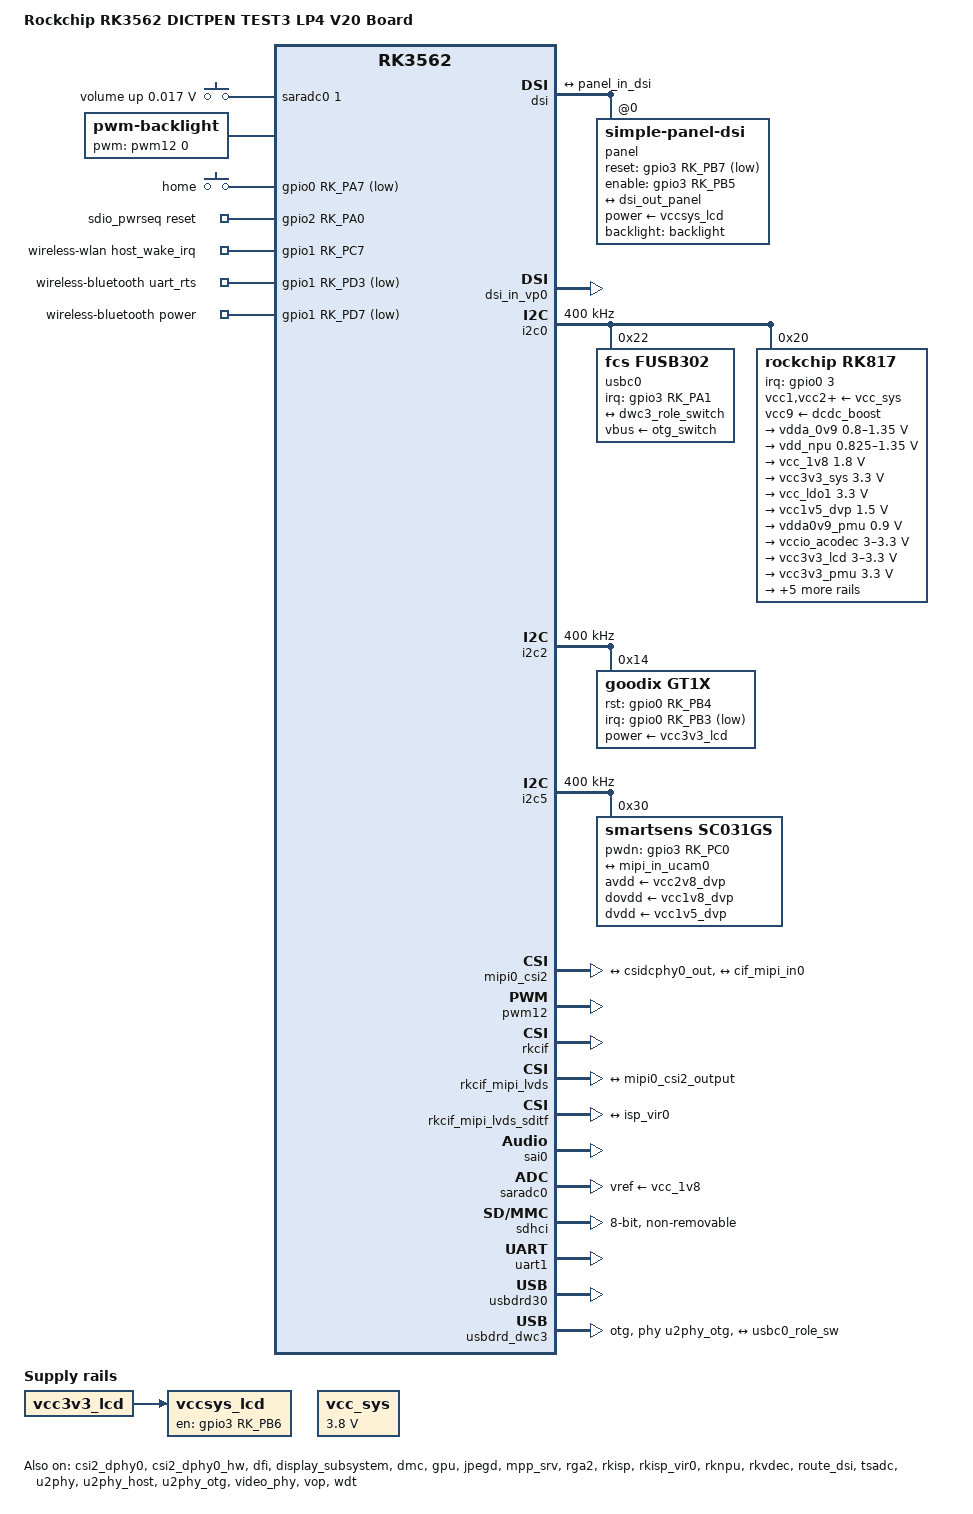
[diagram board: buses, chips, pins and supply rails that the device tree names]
// SPDX-License-Identifier: (GPL-2.0+ OR MIT)
/*
 * Copyright (c) 2023 Rockchip Electronics Co., Ltd.
 *
 */
/dts-v1/;

#include <dt-bindings/gpio/gpio.h>
#include <dt-bindings/pinctrl/rockchip.h>
#include <dt-bindings/input/rk-input.h>
#include <dt-bindings/sensor-dev.h>
#include <dt-bindings/display/drm_mipi_dsi.h>
#include "dt-bindings/usb/pd.h"
#include "rk3562.dtsi"
#include "rk3562-linux.dtsi"

/ {
	model = "Rockchip RK3562 DICTPEN TEST3 LP4 V20 Board";
	compatible = "rockchip,rk3562-dictpen-test3-v20", "rockchip,rk3562";

	adc_keys: adc-keys {
		compatible = "adc-keys";
		io-channels = <&saradc0 1>;
		io-channel-names = "buttons";
		keyup-threshold-microvolt = <1800000>;
		poll-interval = <100>;

		vol-up-key {
			label = "volume up";
			linux,code = <KEY_VOLUMEUP>;
			press-threshold-microvolt = <17000>;
		};
	};

	backlight: backlight {
		compatible = "pwm-backlight";
		pwms = <&pwm12 0 25000 0>;
		brightness-levels = <
			  0  20  20  21  21  22  22  23
			 23  24  24  25  25  26  26  27
			 27  28  28  29  29  30  30  31
			 31  32  32  33  33  34  34  35
			 35  36  36  37  37  38  38  39
			 40  41  42  43  44  45  46  47
			 48  49  50  50  51  52  53  54
			 55  55  56  57  58  59  60  61
			 62  63  64  64  65  65  66  67
			 68  69  70  71  71  72  73  74
			 75  76  77  78  79  79  80  81
			 82  83  84  85  86  86  87  88
			 89  90  91  92  93  94  94  95
			 96  97  98  99 100 101 101 102
			103 104 105 106 107 107 108 109
			110 111 112 113 114 115 115 116
			117 118 119 120 121 122 123 123
			124 125 126 127 128 129 130 130
			131 132 133 134 135 136 136 137
			138 139 140 141 142 143 143 144
			145 146 147 147 148 149 150 151
			152 153 154 155 156 156 157 158
			159 157 158 159 160 161 162 162
			163 164 165 166 167 168 169 169
			170 171 172 173 174 175 175 176
			177 178 179 180 181 182 182 183
			184 185 186 187 188 189 190 190
			191 192 193 194 195 196 197 197
			198 199 200 201 202 203 204 204
			205 206 207 208 209 209 210 211
			212 213 213 214 214 215 215 216
			216 217 217 218 218 219 219 220
		>;
		default-brightness-level = <60>;
	};

	charge-animation {
		compatible = "rockchip,uboot-charge";
		rockchip,uboot-charge-on = <0>;
		rockchip,android-charge-on = <0>;
		rockchip,uboot-low-power-voltage = <2800>;
		rockchip,screen-on-voltage = <3000>;
		status = "okay";
	};

	gpio-keys {
		compatible = "gpio-keys";
		autorepeat;
		pinctrl-names = "default";
		pinctrl-0 = <&scan_key>;

		button@0 {
			label = "home";
			linux,code = <KEY_HOME>;
			gpios = <&gpio0 RK_PA7 GPIO_ACTIVE_LOW>;
			debounce-interval = <50>;
		};
	};

	rk817-sound {
		compatible = "rockchip,multicodecs-card";
		rockchip,card-name = "rockchip-rk817";
		rockchip,format = "i2s";
		rockchip,mclk-fs = <256>;
		rockchip,cpu = <&sai0>;
		rockchip,codec = <&rk817_codec>;
	};

	vcc_sys: vcc-sys {
		compatible = "regulator-fixed";
		regulator-name = "vcc_sys";
		regulator-always-on;
		regulator-boot-on;
		regulator-min-microvolt = <3800000>;
		regulator-max-microvolt = <3800000>;
	};

	vccsys_lcd: vccsys-lcd {
		compatible = "regulator-fixed";
		regulator-name = "vccsys_lcd";
		regulator-boot-on;
		enable-active-high;
		gpio = <&gpio3 RK_PB6 GPIO_ACTIVE_HIGH>;
		vin-supply = <&vcc3v3_lcd>;
	};

	sdio_pwrseq: sdio-pwrseq {
		compatible = "mmc-pwrseq-simple";
		pinctrl-names = "default";
		pinctrl-0 = <&wifi_enable_l>;

		/*
		 * On the module itself this is one of these (depending
		 * on the actual card populated):
		 * - SDIO_RESET_L_WL_REG_ON
		 * - PDN (power down when low)
		 */
		post-power-on-delay-ms = <200>;
		reset-gpios = <&gpio2 RK_PA0 GPIO_ACTIVE_HIGH>;
	};

	wireless-wlan {
		compatible = "wlan-platdata";
		rockchip,grf = <&sys_grf>;
		wifi_chip_type = "ap6203";
		pinctrl-names = "default";
		pinctrl-0 = <&wifi_host_wake_irq>;
		WIFI,host_wake_irq = <&gpio1 RK_PC7 GPIO_ACTIVE_HIGH>;
		status = "okay";
	};

	wireless-bluetooth {
		compatible = "bluetooth-platdata";
		clocks = <&rk817 1>;
		clock-names = "ext_clock";
		uart_rts_gpios = <&gpio1 RK_PD3 GPIO_ACTIVE_LOW>;
		pinctrl-names = "default", "rts_gpio";
		pinctrl-0 = <&uart1m0_rtsn>;
		pinctrl-1 = <&uart1_gpios>;
		BT,power_gpio    = <&gpio1 RK_PD7 GPIO_ACTIVE_LOW>;
		//BT,wake_gpio     = <&gpio1 RK_PD5 GPIO_ACTIVE_HIGH>;
		//BT,wake_host_irq = <&gpio1 RK_PD6 GPIO_ACTIVE_HIGH>;
		status = "okay";
	};
};

&cpu0 {
	cpu-supply = <&vdd_cpu>;
};

&cpu0_opp_table {
	opp-408000000 {
	/delete-property/ opp-suspend;
	};

	opp-1200000000 {
		opp-suspend;
	};
	/delete-node/ opp-1608000000;
	/delete-node/ opp-1800000000;
	/delete-node/ opp-2016000000;
};

&csi2_dphy0 {
	status = "okay";

	ports {
		#address-cells = <1>;
		#size-cells = <0>;
		port@0 {
			reg = <0>;
			#address-cells = <1>;
			#size-cells = <0>;

			mipi_in_ucam0: endpoint@1 {
				reg = <1>;
				remote-endpoint = <&sc031gs_out>;
				data-lanes = <1>;
			};

		};
		port@1 {
			reg = <1>;
			#address-cells = <1>;
			#size-cells = <0>;

			csidcphy0_out: endpoint@0 {
				reg = <0>;
				remote-endpoint = <&mipi0_csi2_input>;
			};
		};
	};
};

&csi2_dphy0_hw {
	status = "okay";
};

&dfi {
	status = "okay";
};

&display_subsystem {
	status = "okay";
};

&dmc {
	center-supply = <&vdd_logic>;
	status = "okay";
};

&dsi {
	status = "okay";

	panel@0 {
		status = "okay";
		compatible = "simple-panel-dsi";
		reg = <0>;
		backlight = <&backlight>;
		power-supply=<&vccsys_lcd>;
		reset-gpios = <&gpio3 RK_PB7 GPIO_ACTIVE_LOW>;
		enable-gpios = <&gpio3 RK_PB5 GPIO_ACTIVE_HIGH>;

		reset-delay-ms = <60>;
		enable-delay-ms = <60>;
		prepare-delay-ms = <60>;
		unprepare-delay-ms = <60>;
		disable-delay-ms = <60>;
		dsi,flags = <(MIPI_DSI_MODE_VIDEO | MIPI_DSI_MODE_VIDEO_BURST |
			MIPI_DSI_MODE_LPM | MIPI_DSI_MODE_EOT_PACKET)>;
		dsi,format = <MIPI_DSI_FMT_RGB888>;
		dsi,lanes  = <4>;
		panel-init-sequence = [
			23 00 02 FE 21
			23 00 02 04 00
			23 00 02 00 64
			23 00 02 2A 00
			23 00 02 26 64
			23 00 02 54 00
			23 00 02 50 64
			23 00 02 7B 00
			23 00 02 77 64
			23 00 02 A2 00
			23 00 02 9D 64
			23 00 02 C9 00
			23 00 02 C5 64
			23 00 02 01 71
			23 00 02 27 71
			23 00 02 51 71
			23 00 02 78 71
			23 00 02 9E 71
			23 00 02 C6 71
			23 00 02 02 89
			23 00 02 28 89
			23 00 02 52 89
			23 00 02 79 89
			23 00 02 9F 89
			23 00 02 C7 89
			23 00 02 03 9E
			23 00 02 29 9E
			23 00 02 53 9E
			23 00 02 7A 9E
			23 00 02 A0 9E
			23 00 02 C8 9E
			23 00 02 09 00
			23 00 02 05 B0
			23 00 02 31 00
			23 00 02 2B B0
			23 00 02 5A 00
			23 00 02 55 B0
			23 00 02 80 00
			23 00 02 7C B0
			23 00 02 A7 00
			23 00 02 A3 B0
			23 00 02 CE 00
			23 00 02 CA B0
			23 00 02 06 C0
			23 00 02 2D C0
			23 00 02 56 C0
			23 00 02 7D C0
			23 00 02 A4 C0
			23 00 02 CB C0
			23 00 02 07 CF
			23 00 02 2F CF
			23 00 02 58 CF
			23 00 02 7E CF
			23 00 02 A5 CF
			23 00 02 CC CF
			23 00 02 08 DD
			23 00 02 30 DD
			23 00 02 59 DD
			23 00 02 7F DD
			23 00 02 A6 DD
			23 00 02 CD DD
			23 00 02 0E 15
			23 00 02 0A E9
			23 00 02 36 15
			23 00 02 32 E9
			23 00 02 5F 15
			23 00 02 5B E9
			23 00 02 85 15
			23 00 02 81 E9
			23 00 02 AD 15
			23 00 02 A9 E9
			23 00 02 D3 15
			23 00 02 CF E9
			23 00 02 0B 14
			23 00 02 33 14
			23 00 02 5C 14
			23 00 02 82 14
			23 00 02 AA 14
			23 00 02 D0 14
			23 00 02 0C 36
			23 00 02 34 36
			23 00 02 5D 36
			23 00 02 83 36
			23 00 02 AB 36
			23 00 02 D1 36
			23 00 02 0D 6B
			23 00 02 35 6B
			23 00 02 5E 6B
			23 00 02 84 6B
			23 00 02 AC 6B
			23 00 02 D2 6B
			23 00 02 13 5A
			23 00 02 0F 94
			23 00 02 3B 5A
			23 00 02 37 94
			23 00 02 64 5A
			23 00 02 60 94
			23 00 02 8A 5A
			23 00 02 86 94
			23 00 02 B2 5A
			23 00 02 AE 94
			23 00 02 D8 5A
			23 00 02 D4 94
			23 00 02 10 D1
			23 00 02 38 D1
			23 00 02 61 D1
			23 00 02 87 D1
			23 00 02 AF D1
			23 00 02 D5 D1
			23 00 02 11 04
			23 00 02 39 04
			23 00 02 62 04
			23 00 02 88 04
			23 00 02 B0 04
			23 00 02 D6 04
			23 00 02 12 05
			23 00 02 3A 05
			23 00 02 63 05
			23 00 02 89 05
			23 00 02 B1 05
			23 00 02 D7 05
			23 00 02 18 AA
			23 00 02 14 36
			23 00 02 42 AA
			23 00 02 3D 36
			23 00 02 69 AA
			23 00 02 65 36
			23 00 02 8F AA
			23 00 02 8B 36
			23 00 02 B7 AA
			23 00 02 B3 36
			23 00 02 DD AA
			23 00 02 D9 36
			23 00 02 15 74
			23 00 02 3F 74
			23 00 02 66 74
			23 00 02 8C 74
			23 00 02 B4 74
			23 00 02 DA 74
			23 00 02 16 9F
			23 00 02 40 9F
			23 00 02 67 9F
			23 00 02 8D 9F
			23 00 02 B5 9F
			23 00 02 DB 9F
			23 00 02 17 DC
			23 00 02 41 DC
			23 00 02 68 DC
			23 00 02 8E DC
			23 00 02 B6 DC
			23 00 02 DC DC
			23 00 02 1D FF
			23 00 02 19 03
			23 00 02 47 FF
			23 00 02 43 03
			23 00 02 6E FF
			23 00 02 6A 03
			23 00 02 94 FF
			23 00 02 90 03
			23 00 02 BC FF
			23 00 02 B8 03
			23 00 02 E2 FF
			23 00 02 DE 03
			23 00 02 1A 35
			23 00 02 44 35
			23 00 02 6B 35
			23 00 02 91 35
			23 00 02 B9 35
			23 00 02 DF 35
			23 00 02 1B 45
			23 00 02 45 45
			23 00 02 6C 45
			23 00 02 92 45
			23 00 02 BA 45
			23 00 02 E0 45
			23 00 02 1C 55
			23 00 02 46 55
			23 00 02 6D 55
			23 00 02 93 55
			23 00 02 BB 55
			23 00 02 E1 55
			23 00 02 22 FF
			23 00 02 1E 68
			23 00 02 4C FF
			23 00 02 48 68
			23 00 02 73 FF
			23 00 02 6F 68
			23 00 02 99 FF
			23 00 02 95 68
			23 00 02 C1 FF
			23 00 02 BD 68
			23 00 02 E7 FF
			23 00 02 E3 68
			23 00 02 1F 7E
			23 00 02 49 7E
			23 00 02 70 7E
			23 00 02 96 7E
			23 00 02 BE 7E
			23 00 02 E4 7E
			23 00 02 20 97
			23 00 02 4A 97
			23 00 02 71 97
			23 00 02 97 97
			23 00 02 BF 97
			23 00 02 E5 97
			23 00 02 21 B5
			23 00 02 4B B5
			23 00 02 72 B5
			23 00 02 98 B5
			23 00 02 C0 B5
			23 00 02 E6 B5
			23 00 02 25 F0
			23 00 02 23 E8
			23 00 02 4F F0
			23 00 02 4D E8
			23 00 02 76 F0
			23 00 02 74 E8
			23 00 02 9C F0
			23 00 02 9A E8
			23 00 02 C4 F0
			23 00 02 C2 E8
			23 00 02 EA F0
			23 00 02 E8 E8
			23 00 02 24 FF
			23 00 02 4E FF
			23 00 02 75 FF
			23 00 02 9B FF
			23 00 02 C3 FF
			23 00 02 E9 FF
			23 00 02 FE 3D
			23 00 02 00 04
			23 00 02 FE 23
			23 00 02 08 82
			23 00 02 0A 00
			23 00 02 0B 00
			23 00 02 0C 01
			23 00 02 16 00
			23 00 02 18 02
			23 00 02 1B 04
			23 00 02 19 04
			23 00 02 1C 81
			23 00 02 1F 00
			23 00 02 20 03
			23 00 02 23 04
			23 00 02 21 01
			23 00 02 54 63
			23 00 02 55 54
			23 00 02 6E 45
			23 00 02 6D 36
			23 00 02 FE 3D
			23 00 02 55 78
			23 00 02 FE 20
			23 00 02 26 30
			23 00 02 FE 3D
			23 00 02 20 71
			23 00 02 50 8F
			23 00 02 51 8F
			23 00 02 FE 00
			23 00 02 35 00
			05 78 01 11
			05 1E 01 29
		];

		panel-exit-sequence = [
			05 00 01 28
			05 00 01 10
		];

		disp_timings0: display-timings {
			native-mode = <&dsi_timing0>;

			dsi_timing0: timing0 {
				clock-frequency = <132000000>;
				hactive = <1080>;
				vactive = <1920>;
				hfront-porch = <15>;
				hsync-len = <2>;
				hback-porch = <30>;
				vfront-porch = <15>;
				vsync-len = <2>;
				vback-porch = <15>;
				hsync-active = <0>;
				vsync-active = <0>;
				de-active = <0>;
				pixelclk-active = <1>;
			};
		};

		ports {
			#address-cells = <1>;
			#size-cells = <0>;

			port@0 {
				reg = <0>;
				panel_in_dsi: endpoint {
					remote-endpoint = <&dsi_out_panel>;
				};
			};
		};
	};

	ports {
		#address-cells = <1>;
		#size-cells = <0>;

		port@1 {
			reg = <1>;
			dsi_out_panel: endpoint {
				remote-endpoint = <&panel_in_dsi>;
			};
		};
	};
};

&dsi_in_vp0 {
	status = "okay";
};

&gpu {
	mali-supply = <&vdd_gpu>;
	status = "okay";
};

&gpu_opp_table {
	/delete-node/ opp-800000000;
	/delete-node/ opp-900000000;
};

&i2c0 {
	status = "okay";
	clock-frequency = <400000>;

	usbc0: fusb302@22 {
		compatible = "fcs,fusb302";
		reg = <0x22>;
		interrupt-parent = <&gpio3>;
		interrupts = <RK_PA1 IRQ_TYPE_LEVEL_LOW>;
		pinctrl-names = "default";
		pinctrl-0 = <&usbc0_int>;
		vbus-supply = <&otg_switch>;
		status = "okay";

		ports {
			#address-cells = <1>;
			#size-cells = <0>;

			port@0 {
				reg = <0>;
				usbc0_role_sw: endpoint@0 {
					remote-endpoint = <&dwc3_role_switch>;
				};
			};
		};

		usb_con: connector {
			compatible = "usb-c-connector";
			label = "USB-C";
			data-role = "dual";
			power-role = "dual";
			try-power-role = "sink";
			op-sink-microwatt = <1000000>;
			sink-pdos =
				<PDO_FIXED(5000, 2000, PDO_FIXED_USB_COMM)>;
			source-pdos =
				<PDO_FIXED(5000, 2000, PDO_FIXED_USB_COMM)>;
		};
	};

	rk817: pmic@20 {
		compatible = "rockchip,rk817";
		reg = <0x20>;
		interrupt-parent = <&gpio0>;
		interrupts = <3 IRQ_TYPE_LEVEL_LOW>;

		pinctrl-names = "default", "pmic-sleep",
			"pmic-power-off", "pmic-reset";
		pinctrl-0 = <&pmic_int>;
		pinctrl-1 = <&soc_slppin_slp>, <&rk817_slppin_slp>;
		pinctrl-2 = <&soc_slppin_gpio>, <&rk817_slppin_pwrdn>;
		pinctrl-3 = <&soc_slppin_gpio>, <&rk817_slppin_rst>;
		rockchip,system-power-controller;
		wakeup-source;
		#clock-cells = <1>;
		clock-output-names = "rk808-clkout1", "rk808-clkout2";
		/* 1: rst regs (default in codes), 0: rst the pmic */
		pmic-reset-func = <0>;
		not-save-power-en = <1>;
		vcc1-supply = <&vcc_sys>;
		vcc2-supply = <&vcc_sys>;
		vcc3-supply = <&vcc_sys>;
		vcc4-supply = <&vcc_sys>;
		vcc5-supply = <&vcc_sys>;
		vcc6-supply = <&vcc_sys>;
		vcc7-supply = <&vcc_sys>;
		vcc8-supply = <&vcc_sys>;
		vcc9-supply = <&dcdc_boost>;
		pwrkey {
			status = "okay";
		};

		pinctrl_rk8xx: pinctrl_rk8xx {
			gpio-controller;
			#gpio-cells = <2>;

			rk817_slppin_null: rk817_slppin_null {
				pins = "gpio_slp";
				function = "pin_fun0";
			};

			rk817_slppin_slp: rk817_slppin_slp {
				pins = "gpio_slp";
				function = "pin_fun1";
			};

			rk817_slppin_pwrdn: rk817_slppin_pwrdn {
				pins = "gpio_slp";
				function = "pin_fun2";
			};

			rk817_slppin_rst: rk817_slppin_rst {
				pins = "gpio_slp";
				function = "pin_fun3";
			};
		};

		regulators {
			vdda_0v9: vdd_logic: DCDC_REG1 {
				regulator-always-on;
				regulator-boot-on;
				regulator-min-microvolt = <800000>;
				regulator-max-microvolt = <1350000>;
				regulator-init-microvolt = <900000>;
				regulator-ramp-delay = <6001>;
				regulator-initial-mode = <0x2>;
				regulator-name = "vdd_logic";
				regulator-state-mem {
					regulator-off-in-suspend;
					regulator-suspend-microvolt = <900000>;
				};
			};

			vdd_npu: vdd_gpu: vdd_cpu: DCDC_REG2 {
				regulator-always-on;
				regulator-boot-on;
				regulator-min-microvolt = <825000>;
				regulator-max-microvolt = <1350000>;
				regulator-init-microvolt = <900000>;
				regulator-ramp-delay = <6001>;
				regulator-initial-mode = <0x2>;
				regulator-name = "vdd_cpu";
				regulator-state-mem {
					regulator-off-in-suspend;
				};
			};

			vcc_1v8: DCDC_REG3 {
				regulator-always-on;
				regulator-boot-on;
				regulator-initial-mode = <0x2>;
				regulator-name = "vcc_1v8";
				regulator-min-microvolt = <1800000>;
				regulator-max-microvolt = <1800000>;
				regulator-state-mem {
					regulator-off-in-suspend;
				};
			};

			vcc3v3_sys: DCDC_REG4 {
				regulator-always-on;
				regulator-boot-on;
				regulator-min-microvolt = <3300000>;
				regulator-max-microvolt = <3300000>;
				regulator-initial-mode = <0x2>;
				regulator-name = "vcc3v3_sys";
				regulator-state-mem {
					regulator-on-in-suspend;
				};
			};

			vcc_ldo1: LDO_REG1 {
				regulator-min-microvolt = <3300000>;
				regulator-max-microvolt = <3300000>;
				regulator-name = "vcc_ldo1";
				regulator-state-mem {
					regulator-off-in-suspend;
				};
			};

			vcc1v5_dvp: LDO_REG2 {
				regulator-min-microvolt = <1500000>;
				regulator-max-microvolt = <1500000>;
				regulator-name = "vcc1v5_dvp";
				regulator-state-mem {
					regulator-off-in-suspend;
				};
			};

			vdda0v9_pmu: LDO_REG3 {
				regulator-always-on;
				regulator-boot-on;
				regulator-min-microvolt = <900000>;
				regulator-max-microvolt = <900000>;
				regulator-name = "vdda0v9_pmu";
				regulator-state-mem {
					regulator-on-in-suspend;
					regulator-suspend-microvolt = <900000>;
				};
			};

			vccio_acodec: LDO_REG4 {
				regulator-always-on;
				regulator-boot-on;
				regulator-min-microvolt = <3000000>;
				regulator-max-microvolt = <3300000>;
				regulator-name = "vccio_acodec";
				regulator-state-mem {
					regulator-off-in-suspend;
				};
			};

			vcc3v3_lcd: LDO_REG5 {
				regulator-min-microvolt = <3000000>;
				regulator-max-microvolt = <3300000>;
				regulator-name = "vcc3v3_lcd";
				regulator-state-mem {
					regulator-off-in-suspend;
				};
			};

			vcc3v3_pmu: LDO_REG6 {
				regulator-always-on;
				regulator-boot-on;
				regulator-min-microvolt = <3300000>;
				regulator-max-microvolt = <3300000>;
				regulator-name = "vcc3v3_pmu";
				regulator-state-mem {
					regulator-on-in-suspend;
					regulator-suspend-microvolt = <3000000>;
				};
			};

			vcc_ldo7: LDO_REG7 {
				regulator-min-microvolt = <1800000>;
				regulator-max-microvolt = <1800000>;
				regulator-name = "vcc_ldo7";
				regulator-state-mem {
					regulator-off-in-suspend;
				};
			};

			vcc1v8_dvp: LDO_REG8 {
				regulator-min-microvolt = <1800000>;
				regulator-max-microvolt = <1800000>;
				regulator-name = "vcc1v8_dvp";
				regulator-state-mem {
					regulator-off-in-suspend;
				};
			};

			vcc2v8_dvp: LDO_REG9 {
				regulator-min-microvolt = <2800000>;
				regulator-max-microvolt = <2800000>;
				regulator-name = "vcc2v8_dvp";
				regulator-state-mem {
					regulator-off-in-suspend;
				};
			};

			dcdc_boost: BOOST {
				regulator-always-on;
				regulator-boot-on;
				regulator-min-microvolt = <5000000>;
				regulator-max-microvolt = <5000000>;
				regulator-name = "boost";
				regulator-state-mem {
					regulator-off-in-suspend;
				};
			};

			otg_switch: OTG_SWITCH {
				regulator-name = "otg_switch";
				regulator-state-mem {
					regulator-off-in-suspend;
				};
			};
		};

		battery {
			compatible = "rk817,battery";
			ntc_table = <42450 40570 38780 37080 35460 33930
				     32460 31070 29750 28490 27280 26140
				     25050 24010 23020 22070 21170 20310
				     19490 18710 17960 17250 16570 15910
				     15290 14700 14130 13590 13070 12570
				     12090 11640 11200 10780 10380 10000
				     9633 9282 8945 8622 8312 8015 7730
				     7456 7194 6942 6700 6468 6245 6031
				     5826 5628 5438 5255 5080 4911 4749
				     4592 4442 4297 4158 4024 3895 3771
				     3651 3536 3425 3318 3215 3115 3019
				     2927 2837 2751 2668 2588>;
				ntc_degree_from = <1 10>;
				ocv_table = <3400 3653 3679 3704 3731 3750
				     3771 3788 3806 3828 3855 3890
				     3943 3993 4043 4095 4149 4206
				     4264 4321 4377>;
				design_capacity = <1000>;
				design_qmax = <1010>;
				bat_res = <110>;
				sleep_enter_current = <30>;
				sleep_exit_current = <30>;
				sleep_filter_current = <20>;
				power_off_thresd = <3400>;
				zero_algorithm_vol = <3000>;
				max_soc_offset = <60>;
				monitor_sec = <5>;
				sample_res = <26>;
				virtual_power = <0>;
				chrg_finish_cur = <50>;
		};

		charger {
			compatible = "rk817,charger";
			min_input_voltage = <4500>;
			max_input_current = <2000>;
			max_chrg_current = <500>;
			max_chrg_voltage = <4400>;
			otg5v_suspend_enable = <0>;
			chrg_term_mode = <0>;
			chrg_finish_cur = <50>;
			virtual_power = <0>;
			dc_det_adc = <0>;
			sample_res = <26>;
			extcon = <&u2phy>;
			gate_function_disable = <1>;
		};

		rk817_codec: codec {
			#sound-dai-cells = <0>;
			compatible = "rockchip,rk817-codec";
			clocks = <&mclkout_sai0>;
			clock-names = "mclk";
			assigned-clocks = <&mclkout_sai0>;
			assigned-clock-rates = <12288000>;
			pinctrl-names = "default";
			pinctrl-0 = <&i2s0m0_mclk>;
			hp-volume = <20>;
			spk-volume = <3>;
			mic-in-differential;
			status = "okay";
		};
	};
};

&i2c2 {
	status = "okay";
	clock-frequency = <400000>;

	gt1x: gt1x@14 {
		compatible = "goodix,gt1x";
		reg = <0x14>;
		pinctrl-names = "default";
		pinctrl-0 = <&touch_gpio>;
		goodix,rst-gpio = <&gpio0 RK_PB4 GPIO_ACTIVE_HIGH>;
		goodix,irq-gpio = <&gpio0 RK_PB3 GPIO_ACTIVE_LOW>;

		power-supply = <&vcc3v3_lcd>;
	};
};

&i2c5 {
	status = "okay";
	clock-frequency = <400000>;

	sc031gs: sc031gs@30 {
		status = "okay";
		compatible = "smartsens,sc031gs";
		reg = <0x30>;
		clocks = <&cru CLK_CAM0_OUT2IO>;
		clock-names = "xvclk";
		pinctrl-names = "default";
		pinctrl-0 = <&camm0_clk0_out>;
		pwdn-gpios = <&gpio3 RK_PC0 GPIO_ACTIVE_HIGH>;
		avdd-supply = <&vcc2v8_dvp>;
		dovdd-supply = <&vcc1v8_dvp>;
		dvdd-supply = <&vcc1v5_dvp>;
		rockchip,camera-module-index = <0>;
		rockchip,camera-module-facing = "back";
		rockchip,camera-module-name = "default";
		rockchip,camera-module-lens-name = "default";

		port {
			sc031gs_out: endpoint {
				remote-endpoint = <&mipi_in_ucam0>;
				data-lanes = <1>;
			};
		};
	};
};

&jpegd {
	status = "okay";
};

&jpegd_mmu {
	status = "okay";
};

&mipi0_csi2 {
	status = "okay";

	ports {
		#address-cells = <1>;
		#size-cells = <0>;

		port@0 {
			reg = <0>;
			#address-cells = <1>;
			#size-cells = <0>;

			mipi0_csi2_input: endpoint@1 {
				reg = <1>;
				remote-endpoint = <&csidcphy0_out>;
			};
		};

		port@1 {
			reg = <1>;
			#address-cells = <1>;
			#size-cells = <0>;

			mipi0_csi2_output: endpoint@0 {
				reg = <0>;
				remote-endpoint = <&cif_mipi_in0>;
			};
		};
	};
};

&mpp_srv {
	status = "okay";
};

&npu_opp_table {
	/delete-node/ opp-900000000;
	/delete-node/ opp-1000000000;
};

&pinctrl {
	led_control {
		scan_key: scan-key {
			rockchip,pins = <0 RK_PA7 RK_FUNC_GPIO &pcfg_pull_up>;
		};
	};

	touch {
		touch_gpio: touch-gpio {
			rockchip,pins =
				<0 RK_PB3 RK_FUNC_GPIO &pcfg_pull_up>,
				<0 RK_PB4 RK_FUNC_GPIO &pcfg_pull_none>;
		};
	};

	sdio-pwrseq {
		wifi_enable_l: wifi-enable-l {
			rockchip,pins = <2 RK_PA0 RK_FUNC_GPIO &pcfg_pull_none>;
		};
	};

	usb {
		usbc0_int: usbc0-int {
			rockchip,pins = <3 RK_PA1 RK_FUNC_GPIO &pcfg_pull_up>;
		};
	};

	wireless-wlan {
		wifi_host_wake_irq: wifi-host-wake-irq {
			rockchip,pins = <1 RK_PC7 RK_FUNC_GPIO &pcfg_pull_down>;
		};
	};

	wireless-bluetooth {
		uart1_gpios: uart1-gpios {
			rockchip,pins = <1 RK_PD3 RK_FUNC_GPIO &pcfg_pull_none>;
		};
	};
};

&pwm12 {
	status = "okay";
	pinctrl-0 = <&pwm12m1_pins>;
};

&rga2 {
	status = "okay";
};

&rga2_mmu {
	status = "okay";
};

&rkcif {
	status = "okay";
};

&rkcif_mipi_lvds {
	status = "okay";

	port {
		cif_mipi_in0: endpoint {
			remote-endpoint = <&mipi0_csi2_output>;
		};
	};
};

&rkcif_mipi_lvds_sditf {
	status = "okay";

	port {
		mipi_lvds_sditf: endpoint {
			remote-endpoint = <&isp_vir0>;
		};
	};
};

&rkcif_mmu {
	status = "okay";
};

&rkisp {
	status = "okay";
};

&rkisp_mmu {
	status = "okay";
};

&rkisp_vir0 {
	status = "okay";

	port {
		#address-cells = <1>;
		#size-cells = <0>;

		isp_vir0: endpoint@0 {
			reg = <0>;
			remote-endpoint = <&mipi_lvds_sditf>;
		};
	};
};

&rknpu {
	rknpu-supply = <&vdd_npu>;
	status = "okay";
};

&rknpu_mmu {
	status = "okay";
};

&rkvdec {
	status = "okay";
};

&rkvdec_mmu {
	status = "okay";
};

&rockchip_suspend {
	status = "okay";

	rockchip,sleep-mode-config = <
		(0
		| RKPM_SLP_ULTRA_MODE
		| RKPM_SLP_PMIC_LP
		| RKPM_SLP_HW_PLLS_OFF
		| RKPM_SLP_PMUALIVE_32K
		| RKPM_SLP_OSC_DIS
		| RKPM_SLP_32K_PVTM
		)
	>;
};

&route_dsi {
	status = "okay";
};

&sai0 {
	status = "okay";
	pinctrl-names = "default";
	pinctrl-0 = <&i2s0m0_lrck
		     &i2s0m0_sclk
		     &i2s0m0_sdi0
		     &i2s0m0_sdo0>;
};

&saradc0 {
	status = "okay";
	vref-supply = <&vcc_1v8>;
};

&sdhci {
	bus-width = <8>;
	no-sdio;
	no-sd;
	non-removable;
	max-frequency = <200000000>;
	mmc-hs400-1_8v;
	mmc-hs400-enhanced-strobe;
	status = "okay";
};

&sdmmc1 {
	no-sd;
	no-mmc;
	bus-width = <4>;
	disable-wp;
	cap-sd-highspeed;
	cap-sdio-irq;
	mmc-pwrseq = <&sdio_pwrseq>;
	non-removable;
	keep-power-in-suspend;
	pinctrl-names = "default";
	pinctrl-0 = <&sdmmc1_bus4 &sdmmc1_cmd &sdmmc1_clk>;
	sd-uhs-sdr104;
	status = "disabled";
};

&tsadc {
	status = "okay";
};

&u2phy {
	status = "okay";
};

/* for inno usb2 phy driver probe and set to phy_sus status */
&u2phy_host {
	/delete-property/ phy-supply;
	status = "okay";
};

&u2phy_otg {
	status = "okay";
	vbus-supply = <&otg_switch>;
};

&uart1 {
	status = "okay";
	pinctrl-names = "default";
	pinctrl-0 = <&uart1m0_xfer &uart1m0_ctsn>;
};

&usbdrd30 {
	status = "okay";
};

&usbdrd_dwc3 {
	status = "okay";
	dr_mode = "otg";
	maximum-speed = "high-speed";
	phys = <&u2phy_otg>;
	phy-names = "usb2-phy";
	snps,dis_u2_susphy_quirk;
	snps,usb2-lpm-disable;

	usb-role-switch;
	port {
		#address-cells = <1>;
		#size-cells = <0>;
		dwc3_role_switch: endpoint@0 {
			reg = <0>;
			remote-endpoint = <&usbc0_role_sw>;
		};
	};
};

&video_phy {
	status = "okay";
};

&vop {
	status = "okay";
};

&vop_mmu {
	status = "okay";
};

&wdt {
	status = "okay";
};
